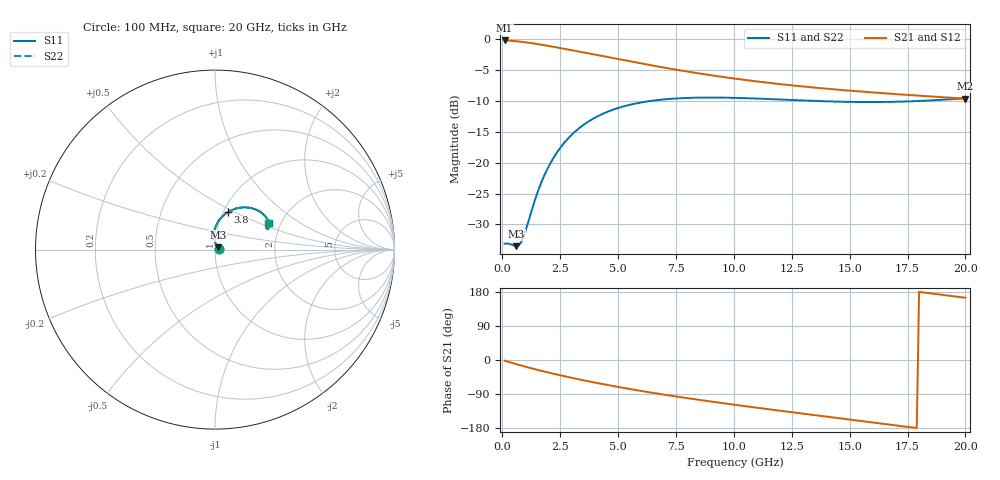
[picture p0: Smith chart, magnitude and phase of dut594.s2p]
! Touchstone file exported from HFSS 2024.1.0
!  File:  C:/UserFiles/LocalFiles/RDL_TSV_Batchsim/temp_RDL_TSV_594_1779760466.aedt
!  Generated:  10:10:27 AM May 26, 2026
!  Design:  RDL_TSV
!  Project:  temp_RDL_TSV_594_1779760466
!  Setup:  Setup1
!  Solution:  Sweep
! Variables:
!  dtsv = 12.55um
!  hbump = 3um
!  htsv = 65.74um
!  ldown = 335.52um
!  lrdl = 434.83um
!  p = 40
!  p1 = 56.53um
!  rhole = 10um
!  subl = 2745.88um
!  t = 450um
!  tdown = 2.41um
!  trdl = 2.64um
!  viad = 10um
!  wdown = 11.87um
!  wrdl = 24um
!  xbump = 18um
# GHz S MA R 50.000000
! Terminal data exported
! Port[1] = TM1_1_T1
! Port[2] = TM1_4_T1
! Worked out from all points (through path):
!   200 points, 100 MHz to 20 GHz, reference 50 ohm
!   highest |S21| = -0.20 dB at 100 MHz (marker M1); lowest = -9.6 dB at 20 GHz (marker M2)
!   group delay of S21, straight-line fit = 25.3 ps
!   lowest |S11| = -33.5 dB at 600 MHz (marker M3), VSWR 1.04, Z = 51.7 + j1.31 ohm
!   |S11| at or under -10 dB: start of sweep to 6.392 GHz; 13.55 GHz to 17.99 GHz (4.442 GHz wide, 28.2 % of centre)
!   |S22| runs from -33.5 to -9.4 dB; largest |S21 - S12| = 8.4e-15
!   S11 on the Smith chart (normalised r, x): 100 MHz: 1.04, +0.00; 3.8 GHz: 1.05, +0.46; 20 GHz: 1.73, +0.57
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0.1  0.02211 5.6  0.9774 -1.9  0.9774 -1.9  0.02211 5.6
! Gamma 0 0 0 0
! Port Impedance 50 0 50 0
0.6  0.02111 37.0  0.9639 -10.9  0.9639 -10.9  0.0211 37.0
0.8  0.02246 57.0  0.9551 -14.3  0.9551 -14.3  0.02247 57.0
0.9  0.02463 66.8  0.9502 -16.0  0.9502 -16.0  0.02464 66.9
1.4  0.04932 92.2  0.9214 -24.1  0.9214 -24.1  0.04938 92.3
1.6  0.06307 94.2  0.9087 -27.3  0.9087 -27.3  0.06314 94.2
1.8  0.07783 94.2  0.8956 -30.3  0.8956 -30.3  0.07792 94.2
2.1  0.1009 92.1  0.8755 -34.7  0.8755 -34.7  0.101 92.2
2.7  0.1469 85.2  0.8352 -43.0  0.8352 -43.0  0.1471 85.2
3.5  0.2022 74.8  0.7827 -53.4  0.7827 -53.4  0.2024 74.9
3.8  0.2203 71.1  0.7636 -57.1  0.7636 -57.1  0.2205 71.1
4.4  0.2519 64.1  0.7264 -64.3  0.7264 -64.3  0.2521 64.1
5.1  0.2811 56.7  0.6854 -72.2  0.6854 -72.2  0.2814 56.7
5.9  0.3054 49.4  0.6419 -80.7  0.6419 -80.7  0.3057 49.4
6.8  0.3232 42.4  0.5979 -89.6  0.5979 -89.6  0.3234 42.5
8.4  0.3365 33.0  0.5322 -104.3  0.5322 -104.3  0.3367 33.1
10.1  0.335 26.4  0.4783 -118.7  0.4783 -118.7  0.3352 26.5
11.7  0.3268 22.8  0.4394 -131.5  0.4394 -131.5  0.327 22.9
13.4  0.317 21.4  0.4074 -144.8  0.4074 -144.8  0.3171 21.4
15  0.3108 21.8  0.3835 -157.1  0.3835 -157.1  0.3109 21.9
16.7  0.3109 23.3  0.3627 -170.2  0.3627 -170.2  0.311 23.4
20  0.3329 26.4  0.3305 164.3  0.3305 164.3  0.3331 26.5
